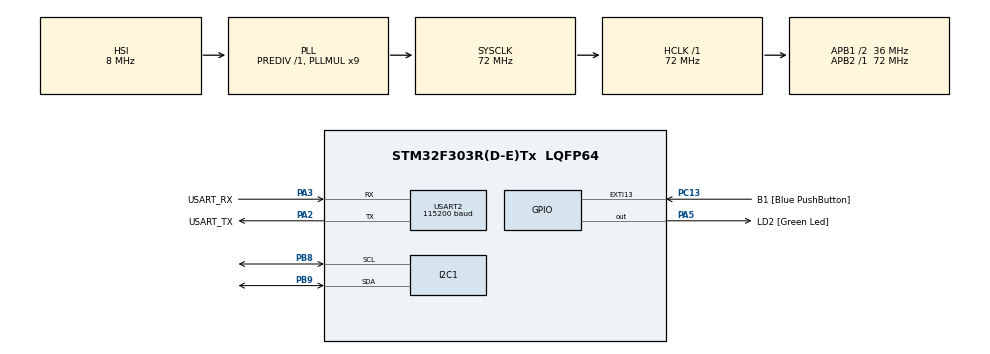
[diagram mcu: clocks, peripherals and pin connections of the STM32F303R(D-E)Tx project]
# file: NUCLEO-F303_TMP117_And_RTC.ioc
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I2C1.Timing=0x00201D2B
Mcu.Family=STM32F3
Mcu.Name=STM32F303R(D-E)Tx
Mcu.Package=LQFP64
NVIC.PriorityGroup=NVIC_PRIORITYGROUP_0
NVIC.RTC_Alarm_IRQn=true\:0\:0\:false\:false\:true\:true\:true\:true
PA13.GPIO_Label=TMS
PA13.Mode=Serial_Wire
PA13.Signal=SYS_JTMS-SWDIO
PA14.GPIO_Label=TCK
PA14.Mode=Serial_Wire
PA14.Signal=SYS_JTCK-SWCLK
PA2.GPIO_Label=USART_TX
PA2.GPIO_Mode=GPIO_MODE_AF_PP
PA2.GPIO_PuPd=GPIO_NOPULL
PA2.GPIO_Speed=GPIO_SPEED_FREQ_LOW
PA2.Mode=Asynchronous
PA2.Signal=USART2_TX
PA3.GPIO_Label=USART_RX
PA3.GPIO_Mode=GPIO_MODE_AF_PP
PA3.GPIO_PuPd=GPIO_NOPULL
PA3.GPIO_Speed=GPIO_SPEED_FREQ_LOW
PA3.Mode=Asynchronous
PA3.Signal=USART2_RX
PA5.GPIO_Label=LD2 [Green Led]
PA5.GPIO_Mode=GPIO_MODE_OUTPUT_PP
PA5.GPIO_PuPd=GPIO_NOPULL
PA5.GPIO_Speed=GPIO_SPEED_FREQ_LOW
PA5.Signal=GPIO_Output
PB3.GPIO_Label=SWO
PB3.Signal=SYS_JTDO-TRACESWO
PB8.Mode=I2C
PB8.Signal=I2C1_SCL
PB9.Mode=I2C
PB9.Signal=I2C1_SDA
PC13.GPIO_Label=B1 [Blue PushButton]
PC13.GPIO_ModeDefaultEXTI=GPIO_MODE_IT_FALLING
PC13.Signal=GPXTI13
PC14-OSC32_IN.Mode=LSE-External-Oscillator
PC14-OSC32_IN.Signal=RCC_OSC32_IN
PC15-OSC32_OUT.Mode=LSE-External-Oscillator
PC15-OSC32_OUT.Signal=RCC_OSC32_OUT
PF0-OSC_IN.Mode=HSE-External-Clock-Source
PF0-OSC_IN.Signal=RCC_OSC_IN
PF1-OSC_OUT.Signal=RCC_OSC_OUT
ProjectManager.HeapSize=0x200
ProjectManager.StackSize=0x400
ProjectManager.TargetToolchain=CMake
RCC.AHBFreq_Value=72000000
RCC.APB1CLKDivider=RCC_HCLK_DIV2
RCC.APB1Freq_Value=36000000
RCC.APB1TimFreq_Value=72000000
RCC.APB2Freq_Value=72000000
RCC.APB2TimFreq_Value=72000000
RCC.CortexFreq_Value=72000000
RCC.HCLKFreq_Value=72000000
RCC.HSE_VALUE=8000000
RCC.HSI_VALUE=8000000
RCC.PLLM=8
RCC.PLLMUL=RCC_PLL_MUL9
RCC.PLLN=336
RCC.PLLP=RCC_PLLP_DIV4
RCC.PLLQ=7
RCC.RCC_PLLsource_Clock_Source_FROM_HSE=RCC_HSE_PREDIV_DIV2
RCC.RTCClockSelection=RCC_RTCCLKSOURCE_LSE
RCC.SYSCLKFreq_VALUE=72000000
RCC.SYSCLKSourceVirtual=RCC_SYSCLKSOURCE_PLLCLK
RCC.USBFreq_Value=72000000
RTC.Alarm-Alarm\ A=RTC_ALARM_A
RTC.AlarmDateWeekDaySel-Alarm\ A=RTC_ALARMDATEWEEKDAYSEL_DATE
RTC.AlarmMaskDateWeekDay-Alarm\ A=RTC_ALARMMASK_DATEWEEKDAY
RTC.AlarmMaskHours-Alarm\ A=RTC_ALARMMASK_HOURS
USART2.BaudRate=115200
USART2.VirtualMode-Asynchronous=VM_ASYNC
VP_RTC_VS_RTC_Activate.Mode=RTC_Enabled
VP_RTC_VS_RTC_Alarm_A_Intern.Mode=Alarm A
VP_RTC_VS_RTC_Calendar.Mode=RTC_Calendar
board=NUCLEO-F303RE

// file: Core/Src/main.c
/* USER CODE BEGIN Header */
/**
  ******************************************************************************
  * @file           : main.c
  * @brief          : Main program body
  ******************************************************************************
  * @attention
  *
  * Copyright (c) 2026 STMicroelectronics.
  * All rights reserved.
  *
  * This software is licensed under terms that can be found in the LICENSE file
  * in the root directory of this software component.
  * If no LICENSE file comes with this software, it is provided AS-IS.
  *
  ******************************************************************************
  */
/* USER CODE END Header */
#include "main.h"
#include "stm32f3xx_hal.h"

/* USER CODE BEGIN Includes */
#include <TMP117.h>
#include <stdio.h>
#include <string.h>
/* USER CODE END Includes */

/* USER CODE BEGIN PTD */
TMP117_HandleTypeDef tmp117;
/* USER CODE END PTD */

I2C_HandleTypeDef hi2c1;

RTC_HandleTypeDef hrtc;

UART_HandleTypeDef huart2;

/* USER CODE BEGIN PV */
char msg[32];
_Bool isDataReady     = 0;
double lowLimitTemp   = 50.0;
double highLimitTemp  = 100.0;
double temp           = 0.0;

RTC_AlarmTypeDef sAlarm = {0};
RTC_TimeTypeDef sTime   = {0};
RTC_DateTypeDef sDate   = {0};

uint8_t currentMinutes   = 0;
uint8_t nextAlarmMinutes = 0;

volatile _Bool alarmFlag = 0;
/* USER CODE END PV */

void SystemClock_Config(void);
static void MX_GPIO_Init(void);
static void MX_I2C1_Init(void);
static void MX_RTC_Init(void);
static void MX_USART2_UART_Init(void);

int main(void)
{

  /* MCU Configuration--------------------------------------------------------*/

  /* Reset of all peripherals, Initializes the Flash interface and the Systick. */
  HAL_Init();

  /* Configure the system clock */
  SystemClock_Config();

  /* Initialize all configured peripherals */
  MX_GPIO_Init();
  MX_I2C1_Init();
  MX_RTC_Init();
  MX_USART2_UART_Init();
  /* USER CODE BEGIN 2 */
  // The device requires 1.5 ms to power up before conversions can begin
  HAL_Delay(2);
  TMP117_Init(&tmp117, &hi2c1, TMP117_ADDRESS);

  if (TMP117_SetConvTime(&tmp117, TMP117_CONV_250_MS) != HAL_OK)
  {
    char buffer[100];
    snprintf(buffer, sizeof(buffer), "ERROR: requested time (%.1f ms) is less than active time (%.1f ms)\r\n", tmp117._requestedTime, tmp117._activeTime);
    HAL_UART_Transmit(&huart2, (uint8_t *)buffer, strlen(buffer), HAL_MAX_DELAY);
  }

  TMP117_SetLowLimit_C(&tmp117, lowLimitTemp);
  TMP117_SetHighLimit_C(&tmp117, highLimitTemp);
  TMP117_SetMode(&tmp117,TMP117_SHUTDOWN_MODE);

  // Obtener la hora actual para calcular el primer disparo
  HAL_RTC_GetTime(&hrtc, &sTime, RTC_FORMAT_BIN);
  HAL_RTC_GetDate(&hrtc, &sDate, RTC_FORMAT_BIN);

  // Calcular el siguiente múltiplo de 1 minuto
  currentMinutes = sTime.Minutes;
  nextAlarmMinutes = ((currentMinutes / 1) + 1) * 1;

  if (nextAlarmMinutes >= 60)
  {
    nextAlarmMinutes = 0;
  }

  // Configurar la Alarma A con los nuevos valores
  sAlarm.AlarmTime.Minutes = nextAlarmMinutes;
  sAlarm.AlarmTime.Seconds = 0;
  sAlarm.AlarmTime.SubSeconds = 0;
  sAlarm.AlarmMask = RTC_ALARMMASK_DATEWEEKDAY | RTC_ALARMMASK_HOURS;
  sAlarm.AlarmSubSecondMask = RTC_ALARMSUBSECONDMASK_ALL;
  sAlarm.Alarm = RTC_ALARM_A;

  if (HAL_RTC_SetAlarm_IT(&hrtc, &sAlarm, RTC_FORMAT_BIN) != HAL_OK)
  {
    Error_Handler();
  }
  /* USER CODE END 2 */

  /* Infinite loop */
  /* USER CODE BEGIN WHILE */
  while (1)
  {
    if (alarmFlag)
    {
        alarmFlag = 0;

        TMP117_SetMode(&tmp117, TMP117_ONE_SHOT_MODE);
        HAL_Delay(20);
        temp = TMP117_GetTemperature_C(&tmp117);

        snprintf(msg, sizeof(msg), "Temperature = %.2f %cC\r\n", temp, 0xB0);
        HAL_UART_Transmit(&huart2, (uint8_t *)msg, strlen(msg), 100);

    }
    /* USER CODE END WHILE */

  }
}

void SystemClock_Config(void)
{
  RCC_OscInitTypeDef RCC_OscInitStruct = {0};
  RCC_ClkInitTypeDef RCC_ClkInitStruct = {0};
  RCC_PeriphCLKInitTypeDef PeriphClkInit = {0};

  /** Configure LSE Drive Capability
  */
  HAL_PWR_EnableBkUpAccess();
  __HAL_RCC_LSEDRIVE_CONFIG(RCC_LSEDRIVE_LOW);

  /** Initializes the RCC Oscillators according to the specified parameters
  * in the RCC_OscInitTypeDef structure.
  */
  RCC_OscInitStruct.OscillatorType = RCC_OSCILLATORTYPE_HSI|RCC_OSCILLATORTYPE_LSE;
  RCC_OscInitStruct.LSEState = RCC_LSE_ON;
  RCC_OscInitStruct.HSIState = RCC_HSI_ON;
  RCC_OscInitStruct.HSICalibrationValue = RCC_HSICALIBRATION_DEFAULT;
  RCC_OscInitStruct.PLL.PLLState = RCC_PLL_ON;
  RCC_OscInitStruct.PLL.PLLSource = RCC_PLLSOURCE_HSI;
  RCC_OscInitStruct.PLL.PLLMUL = RCC_PLL_MUL9;
  RCC_OscInitStruct.PLL.PREDIV = RCC_PREDIV_DIV1;
  if (HAL_RCC_OscConfig(&RCC_OscInitStruct) != HAL_OK)
  {
    Error_Handler();
  }

  /** Initializes the CPU, AHB and APB buses clocks
  */
  RCC_ClkInitStruct.ClockType = RCC_CLOCKTYPE_HCLK|RCC_CLOCKTYPE_SYSCLK
                              |RCC_CLOCKTYPE_PCLK1|RCC_CLOCKTYPE_PCLK2;
  RCC_ClkInitStruct.SYSCLKSource = RCC_SYSCLKSOURCE_PLLCLK;
  RCC_ClkInitStruct.AHBCLKDivider = RCC_SYSCLK_DIV1;
  RCC_ClkInitStruct.APB1CLKDivider = RCC_HCLK_DIV2;
  RCC_ClkInitStruct.APB2CLKDivider = RCC_HCLK_DIV1;

  if (HAL_RCC_ClockConfig(&RCC_ClkInitStruct, FLASH_LATENCY_2) != HAL_OK)
  {
    Error_Handler();
  }
  PeriphClkInit.PeriphClockSelection = RCC_PERIPHCLK_USART2|RCC_PERIPHCLK_I2C1
                              |RCC_PERIPHCLK_RTC;
  PeriphClkInit.Usart2ClockSelection = RCC_USART2CLKSOURCE_PCLK1;
  PeriphClkInit.I2c1ClockSelection = RCC_I2C1CLKSOURCE_HSI;
  PeriphClkInit.RTCClockSelection = RCC_RTCCLKSOURCE_LSE;
  if (HAL_RCCEx_PeriphCLKConfig(&PeriphClkInit) != HAL_OK)
  {
    Error_Handler();
  }
}

static void MX_I2C1_Init(void)
{

  hi2c1.Instance = I2C1;
  hi2c1.Init.Timing = 0x00201D2B;
  hi2c1.Init.OwnAddress1 = 0;
  hi2c1.Init.AddressingMode = I2C_ADDRESSINGMODE_7BIT;
  hi2c1.Init.DualAddressMode = I2C_DUALADDRESS_DISABLE;
  hi2c1.Init.OwnAddress2 = 0;
  hi2c1.Init.OwnAddress2Masks = I2C_OA2_NOMASK;
  hi2c1.Init.GeneralCallMode = I2C_GENERALCALL_DISABLE;
  hi2c1.Init.NoStretchMode = I2C_NOSTRETCH_DISABLE;
  if (HAL_I2C_Init(&hi2c1) != HAL_OK)
  {
    Error_Handler();
  }

  /** Configure Analogue filter
  */
  if (HAL_I2CEx_ConfigAnalogFilter(&hi2c1, I2C_ANALOGFILTER_ENABLE) != HAL_OK)
  {
    Error_Handler();
  }

  /** Configure Digital filter
  */
  if (HAL_I2CEx_ConfigDigitalFilter(&hi2c1, 0) != HAL_OK)
  {
    Error_Handler();
  }

}

static void MX_RTC_Init(void)
{

  RTC_TimeTypeDef sTime = {0};
  RTC_DateTypeDef sDate = {0};
  RTC_AlarmTypeDef sAlarm = {0};

  /** Initialize RTC Only
  */
  hrtc.Instance = RTC;
  hrtc.Init.HourFormat = RTC_HOURFORMAT_24;
  hrtc.Init.AsynchPrediv = 127;
  hrtc.Init.SynchPrediv = 255;
  hrtc.Init.OutPut = RTC_OUTPUT_DISABLE;
  hrtc.Init.OutPutPolarity = RTC_OUTPUT_POLARITY_HIGH;
  hrtc.Init.OutPutType = RTC_OUTPUT_TYPE_OPENDRAIN;
  if (HAL_RTC_Init(&hrtc) != HAL_OK)
  {
    Error_Handler();
  }

  /** Initialize RTC and set the Time and Date
  */
  sTime.Hours = 0x0;
  sTime.Minutes = 0x0;
  sTime.Seconds = 0x0;
  sTime.DayLightSaving = RTC_DAYLIGHTSAVING_NONE;
  sTime.StoreOperation = RTC_STOREOPERATION_RESET;
  if (HAL_RTC_SetTime(&hrtc, &sTime, RTC_FORMAT_BCD) != HAL_OK)
  {
    Error_Handler();
  }
  sDate.WeekDay = RTC_WEEKDAY_MONDAY;
  sDate.Month = RTC_MONTH_JANUARY;
  sDate.Date = 0x1;
  sDate.Year = 0x0;

  if (HAL_RTC_SetDate(&hrtc, &sDate, RTC_FORMAT_BCD) != HAL_OK)
  {
    Error_Handler();
  }

  /** Enable the Alarm A
  */
  sAlarm.AlarmTime.Hours = 0x0;
  sAlarm.AlarmTime.Minutes = 0x0;
  sAlarm.AlarmTime.Seconds = 0x0;
  sAlarm.AlarmTime.SubSeconds = 0x0;
  sAlarm.AlarmTime.DayLightSaving = RTC_DAYLIGHTSAVING_NONE;
  sAlarm.AlarmTime.StoreOperation = RTC_STOREOPERATION_RESET;
  sAlarm.AlarmMask = RTC_ALARMMASK_DATEWEEKDAY|RTC_ALARMMASK_HOURS;
  sAlarm.AlarmSubSecondMask = RTC_ALARMSUBSECONDMASK_ALL;
  sAlarm.AlarmDateWeekDaySel = RTC_ALARMDATEWEEKDAYSEL_DATE;
  sAlarm.AlarmDateWeekDay = 0x1;
  sAlarm.Alarm = RTC_ALARM_A;
  if (HAL_RTC_SetAlarm_IT(&hrtc, &sAlarm, RTC_FORMAT_BCD) != HAL_OK)
  {
    Error_Handler();
  }

}

static void MX_USART2_UART_Init(void)
{

  huart2.Instance = USART2;
  huart2.Init.BaudRate = 115200;
  huart2.Init.WordLength = UART_WORDLENGTH_8B;
  huart2.Init.StopBits = UART_STOPBITS_1;
  huart2.Init.Parity = UART_PARITY_NONE;
  huart2.Init.Mode = UART_MODE_TX_RX;
  huart2.Init.HwFlowCtl = UART_HWCONTROL_NONE;
  huart2.Init.OverSampling = UART_OVERSAMPLING_16;
  huart2.Init.OneBitSampling = UART_ONE_BIT_SAMPLE_DISABLE;
  huart2.AdvancedInit.AdvFeatureInit = UART_ADVFEATURE_NO_INIT;
  if (HAL_UART_Init(&huart2) != HAL_OK)
  {
    Error_Handler();
  }

}

static void MX_GPIO_Init(void)
{
  GPIO_InitTypeDef GPIO_InitStruct = {0};

  /* GPIO Ports Clock Enable */
  __HAL_RCC_GPIOC_CLK_ENABLE();
  __HAL_RCC_GPIOF_CLK_ENABLE();
  __HAL_RCC_GPIOA_CLK_ENABLE();
  __HAL_RCC_GPIOB_CLK_ENABLE();

  /*Configure GPIO pin Output Level */
  HAL_GPIO_WritePin(LD2_GPIO_Port, LD2_Pin, GPIO_PIN_RESET);

  /*Configure GPIO pin : B1_Pin */
  GPIO_InitStruct.Pin = B1_Pin;
  GPIO_InitStruct.Mode = GPIO_MODE_IT_FALLING;
  GPIO_InitStruct.Pull = GPIO_NOPULL;
  HAL_GPIO_Init(B1_GPIO_Port, &GPIO_InitStruct);

  /*Configure GPIO pin : LD2_Pin */
  GPIO_InitStruct.Pin = LD2_Pin;
  GPIO_InitStruct.Mode = GPIO_MODE_OUTPUT_PP;
  GPIO_InitStruct.Pull = GPIO_NOPULL;
  GPIO_InitStruct.Speed = GPIO_SPEED_FREQ_LOW;
  HAL_GPIO_Init(LD2_GPIO_Port, &GPIO_InitStruct);

}

/* USER CODE BEGIN 4 */
void HAL_RTC_AlarmAEventCallback(RTC_HandleTypeDef *hrtc)
{
  RTC_AlarmTypeDef sAlarmLocal = {0};
  RTC_TimeTypeDef sTimeLocal = {0};
  RTC_DateTypeDef sDateLocal = {0};

   // FORZAR la sincronizacion de los registros sombra
  HAL_RTC_WaitForSynchro(hrtc);

  //Obtener la hora del disparo actual
  HAL_RTC_GetTime(hrtc, &sTimeLocal, RTC_FORMAT_BIN);
  HAL_RTC_GetDate(hrtc, &sDateLocal, RTC_FORMAT_BIN);

  // Calcular el siguiente minuto (ej: si era 55, pasa a 00)
  uint8_t nextMinutes = (sTimeLocal.Minutes + 1) % 60;

  // Configurar los parámetros de la alarma con el nuevo minuto
  sAlarmLocal.AlarmTime.Minutes = nextMinutes;
  sAlarmLocal.AlarmTime.Seconds = 0;
  sAlarmLocal.AlarmTime.SubSeconds = 0;
  // El comparador solo evalúa minutos y segundos.
  sAlarmLocal.AlarmMask = RTC_ALARMMASK_DATEWEEKDAY | RTC_ALARMMASK_HOURS;
  sAlarmLocal.AlarmSubSecondMask = RTC_ALARMSUBSECONDMASK_ALL;
  sAlarmLocal.Alarm = RTC_ALARM_A;

  // Guarda la nueva alarma en los registros
  HAL_RTC_SetAlarm_IT(hrtc, &sAlarmLocal, RTC_FORMAT_BIN);

  alarmFlag = 1;
}
/* USER CODE END 4 */

void Error_Handler(void)
{
  __disable_irq();
  while (1)
  {
  }
}
